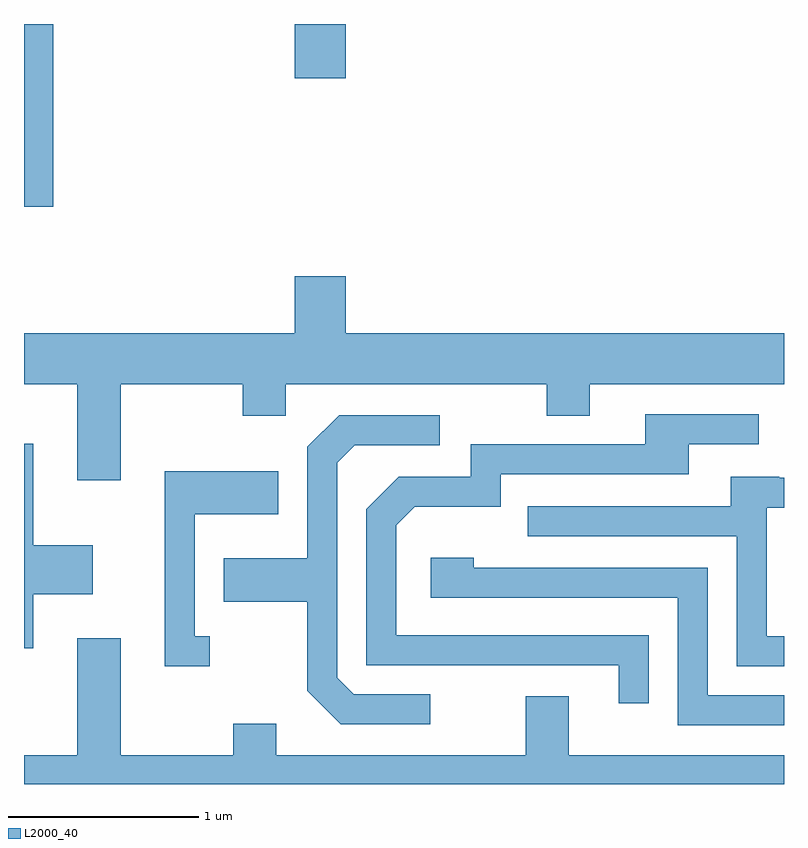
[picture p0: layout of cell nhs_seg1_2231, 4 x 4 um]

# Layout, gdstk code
import gdstk
lib = gdstk.Library(unit=1e-6, precision=1e-09)
def R(c, l, rs):  # rectangles x0, y0, x1, y1
    for r in rs: c.add(gdstk.rectangle(r[:2], r[2:], *l))
def P(c, l, *ps):  # polygons
    for p in ps: c.add(gdstk.Polygon(p, *l))
L2000_40 = (2000, 40)

nhs_seg1_2231 = lib.new_cell('nhs_seg1_2231')
R(nhs_seg1_2231, L2000_40, [(253.611,882.751,253.764,883.712), (255.036,883.426,255.304,883.712)])
P(nhs_seg1_2231, L2000_40, [(254.119,881.816),(254.761,881.816),(254.761,881.651),(254.989,881.651),(254.989,881.816),(256.361,881.816),(256.361,881.651),(256.589,881.651),(256.589,881.816),(257.611,881.816),(257.611,882.084),(255.304,882.084),(255.304,882.384),(255.036,882.384),(255.036,882.084),(253.611,882.084),(253.611,881.816),(253.891,881.816),(253.891,881.311),(254.119,881.311)],
  [(256.899,880.494),(255.569,880.494),(255.569,881.074),(255.667,881.171),(256.119,881.171),(256.119,881.341),(257.109,881.341),(257.109,881.501),(257.478,881.501),(257.478,881.659),(256.881,881.659),(256.881,881.499),(255.961,881.499),(255.961,881.329),(255.584,881.329),(255.411,881.157),(255.411,880.336),(256.741,880.336),(256.741,880.138),(256.899,880.138)],
  [(255.748,880.184),(255.347,880.184),(255.259,880.272),(255.259,881.404),(255.352,881.496),(255.798,881.496),(255.798,881.654),(255.269,881.654),(255.101,881.487),(255.101,880.899),(254.661,880.899),(254.661,880.671),(255.101,880.671),(255.101,880.204),(255.279,880.026),(255.748,880.026)],
  [(253.659,880.711),(253.974,880.711),(253.974,880.969),(253.659,880.969),(253.659,881.504),(253.611,881.504),(253.611,880.426),(253.659,880.426)],
  [(254.588,880.489),(254.509,880.489),(254.509,881.131),(254.949,881.131),(254.949,881.359),(254.351,881.359),(254.351,880.331),(254.588,880.331)],
  [(257.611,880.489),(257.519,880.489),(257.519,881.166),(257.611,881.166),(257.611,881.324),(257.585,881.324),(257.585,881.329),(257.331,881.329),(257.331,881.174),(256.263,881.174),(256.263,881.016),(257.361,881.016),(257.361,880.331),(257.611,880.331)],
  [(257.611,880.179),(257.209,880.179),(257.209,880.849),(255.979,880.849),(255.979,880.904),(255.751,880.904),(255.751,880.691),(257.051,880.691),(257.051,880.021),(257.611,880.021)],
  [(257.611,879.864),(256.479,879.864),(256.479,880.174),(256.251,880.174),(256.251,879.864),(254.939,879.864),(254.939,880.029),(254.711,880.029),(254.711,879.864),(254.119,879.864),(254.119,880.479),(253.891,880.479),(253.891,879.864),(253.611,879.864),(253.611,879.712),(257.611,879.712)])

lib.write_gds('nhs_seg1_2231.gds')
